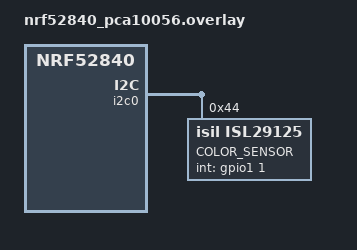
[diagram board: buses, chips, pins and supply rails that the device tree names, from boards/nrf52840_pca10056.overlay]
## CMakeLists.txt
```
# SPDX-License-Identifier: Apache-2.0
cmake_minimum_required(VERSION 3.13.1)
include($ENV{ZEPHYR_BASE}/cmake/app/boilerplate.cmake NO_POLICY_SCOPE)
project(ils29125)

target_sources(app PRIVATE src/main.c)
```

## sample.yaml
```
sample:
  name: ISL29125 Digital Light Sensor
tests:
  sample.sensor.isl29125:
    harness: console
    tags: sensors
    depends_on: gpio,i2c
    platform_whitelist: nrf52840_pca10056
```

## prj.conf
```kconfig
CONFIG_SENSOR=y
CONFIG_GPIO=y
CONFIG_I2C=y
CONFIG_ISL29125=y
CONFIG_ISL29125_TRIGGER_GLOBAL_THREAD=y
CONFIG_LOG=y
CONFIG_SENSOR_LOG_LEVEL_INF=y
CONFIG_HAS_SEGGER_RTT=y
CONFIG_USE_SEGGER_RTT=y
```

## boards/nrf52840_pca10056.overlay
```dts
/*
 * Copyright (c) 2020, Intive.
 *
 * SPDX-License-Identifier: Apache-2.0
 */

&i2c0 {
	isl29125@44 {
		compatible = "isil,isl29125";
		reg = < 0x44 >;
		label = "COLOR_SENSOR";
		int-gpios = <&gpio1 1 GPIO_INT_ACTIVE_HIGH>;
	};
};
```

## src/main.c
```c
/*
 * Copyright (c) 2020 Intive
 *
 * SPDX-License-Identifier: Apache-2.0
 */

#include <zephyr.h>
#include <device.h>
#include <drivers/sensor.h>
#include <sys/printk.h>
#include <sys/util.h>
#include <drivers/gpio.h>

#define LED_PORT DT_ALIAS_LED0_GPIOS_CONTROLLER
#define LED DT_ALIAS_LED0_GPIOS_PIN
#define LED_TRIG DT_ALIAS_LED1_GPIOS_PIN

#define TH_LOW_VAL 1100
#define TH_HI_VAL 2200

struct channel_info {
	int chan;
	char *chan_name;
};

static struct channel_info channels[] = {
	{ SENSOR_CHAN_RED, "Red" },
	{ SENSOR_CHAN_GREEN, "Green" },
	{ SENSOR_CHAN_BLUE, "Blue" },
};
struct device *led_device;
struct device *sensor_device;

void init_subsystems(void)
{
	led_device = device_get_binding(LED_PORT);

	if (led_device == NULL) {
		printk("Failed to access LED driver\n");
		return;
	}
	gpio_pin_configure(led_device, LED, GPIO_DIR_OUT);
	gpio_pin_configure(led_device, LED_TRIG, GPIO_DIR_OUT);
	gpio_pin_write(led_device, LED_TRIG, 1);

	sensor_device = device_get_binding("COLOR_SENSOR");
	if (sensor_device == NULL) {
		printk("Failed to access ILS29125 driver\n");
		return;
	}
}

void plain_read_example(void)
{
	init_subsystems();
	u32_t led_state = 0;

	while (true) {
		/* fetch sensor samples */
		int rc = sensor_sample_fetch(sensor_device);

		if (rc) {
			printk("Failed to fetch sample from sensor, err=%d\n",
			       rc);
		}

		printk("Detected color:");
		struct sensor_value val;

		for (int i = 0; i < ARRAY_SIZE(channels); i++) {
			rc = sensor_channel_get(sensor_device, channels[i].chan,
						&val);
			if (rc) {
				printk("Failed to get data for chan %s(%d)\n",
				       channels[i].chan_name, rc);
				continue;
			}
			printk("  %s=%d\n", channels[i].chan_name, val.val1);
		}
		gpio_pin_write(led_device, LED, led_state % 2);
		led_state++;
		k_sleep(K_MSEC(2000));
	}
}

static void trigger_handler(struct device *dev, struct sensor_trigger *trig)
{
	struct sensor_value val;
	int rc = sensor_sample_fetch(sensor_device);

	rc = sensor_channel_get(sensor_device, SENSOR_CHAN_RED, &val);
	gpio_pin_write(led_device, LED_TRIG, 0);
	printk("Triggered, red value is %d not in window (%d, %d), st:%d\n",
	       val.val1, TH_LOW_VAL, TH_HI_VAL, rc);
}

void threshold_example(void)
{
	init_subsystems();
	int rc;

	while (true) {
		rc = sensor_sample_fetch(sensor_device);
		if (rc) {
			printk("Failed to fetch sample from sensor, err=%d\n",
			       rc);
			k_sleep(K_MSEC(2000));
			continue;
		}
		struct sensor_value val;

		sensor_channel_get(sensor_device, SENSOR_CHAN_RED, &val);
		if (val.val1 != 0) {
			break;
		}
		k_sleep(K_MSEC(2000));
	}

	u32_t led_state = 0;
	struct sensor_trigger trig = {
		.type = SENSOR_TRIG_THRESHOLD,
		.chan = SENSOR_CHAN_ALL,
	};
	struct sensor_value lo_thr = { TH_LOW_VAL, 0 };
	struct sensor_value hi_thr = { TH_HI_VAL, 0 };

	rc = sensor_attr_set(sensor_device, SENSOR_CHAN_RED,
			     SENSOR_ATTR_LOWER_THRESH, &lo_thr);
	printk("Set lower red threshold to %d, result: %d\n", lo_thr.val1, rc);
	if (rc == 0) {
		rc = sensor_attr_set(sensor_device, SENSOR_CHAN_RED,
				     SENSOR_ATTR_UPPER_THRESH, &hi_thr);
		printk("Set upper red threshold to %d, result: %d\n",
		       hi_thr.val1, rc);
	}
	if (rc == 0) {
		rc = sensor_trigger_set(sensor_device, &trig, trigger_handler);
		printk("Setup trigger, result: %d\n", rc);
	}
	if (rc != 0) {
		printk("Alert configuration failed: %d\n", rc);
	}

	printk("Waiting for value out of threshold window (%d, %d)\n",
	       TH_LOW_VAL, TH_HI_VAL);
	while (true) {
		gpio_pin_write(led_device, LED, led_state % 2);
		led_state++;
		k_sleep(K_MSEC(500));
	}
}

void main(void)
{
	printk("Main start\n");
	if (IS_ENABLED(CONFIG_ISL29125_TRIGGER)) {
		threshold_example();
	} else {
		plain_read_example();
	}
}
```
